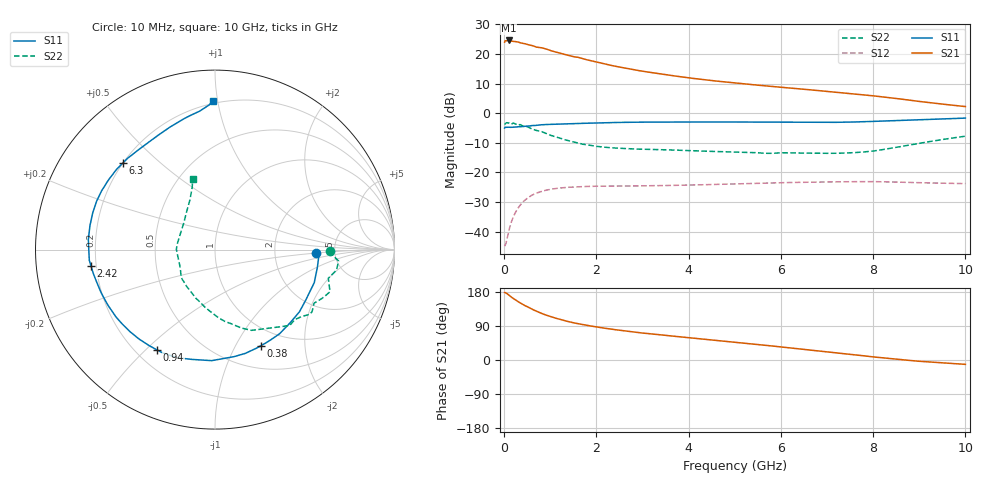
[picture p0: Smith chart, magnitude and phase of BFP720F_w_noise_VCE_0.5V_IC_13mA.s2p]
! Infineon Technologies  Discrete & RF Semiconductors
! BFP720F
! VCE =  0.5 V,  IC =  13 mA
! Common Emitter S-Parameters:  Jan 2016
# GHz  S  MA  R  50
!  f  S11  S21  S12  S22
! GHz  MAG  ANG  MAG  ANG  MAG  ANG  MAG  ANG
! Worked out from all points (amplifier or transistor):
!   233 points, 10 MHz to 10 GHz, reference 50 ohm
!   highest |S21| = 24.6 dB at 100 MHz (marker M1)
!   |S21| within 3 dB of that: start of sweep to 932.1 MHz
!   unconditionally stable (mu >= 1): start of sweep to 145.3 MHz; 4.179 GHz to end of sweep
!   at 200 MHz: K = 0.70, MSG = 29.6 dB, |S12| = -35.0 dB
!   at 1.74 GHz: K = 0.57, MSG = 21.5 dB, |S12| = -24.7 dB
!   at 10 GHz: K = 1.85, MAG = 7.7 dB, |S12| = -23.8 dB
!   lowest NFmin = 0.64 dB at 450 MHz
!   S11 on the Smith chart (normalised r, x): 10 MHz: 3.56, -0.20; 380 MHz: 0.77, -1.28; 940 MHz: 0.28, -0.54; 2.42 GHz: 0.18, -0.06; 6.3 GHz: 0.20, +0.38; 10 GHz: 0.19, +0.97
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0.01  0.5628 -2.0  15.86 178.1  0.0057 4.9  0.6419 -0.5
0.02  0.5798 -3.3  16.7 178.0  0.0059 18.7  0.6578 -2.9
0.05  0.5792 -9.0  16.7 176.4  0.0068 39.0  0.6917 -5.3
0.1  0.5829 -18.4  16.91 171.3  0.0102 52.1  0.6864 -9.6
0.2  0.5842 -36.3  16.4 162.1  0.0178 59.2  0.6824 -20.1
0.3  0.591 -52.6  15.94 154.1  0.025 55.5  0.6274 -28.4
0.38  0.5933 -64.4  15.23 148.6  0.0302 53.3  0.624 -36.0
0.45  0.6024 -73.8  14.92 143.3  0.0341 49.9  0.5914 -41.3
0.6  0.6189 -91.7  13.96 134.1  0.0413 43.8  0.5426 -53.3
0.7  0.6249 -101.7  13.07 128.6  0.0448 40.1  0.5119 -60.1
0.8  0.6381 -109.1  12.82 123.6  0.0476 36.9  0.4937 -65.7
0.94  0.6453 -119.9  11.91 117.2  0.0507 32.5  0.4463 -73.6
1.3  0.6626 -141.3  9.887 104.1  0.0556 23.9  0.3593 -91.3
1.68  0.6741 -155.6  8.441 94.1  0.0577 18.1  0.3032 -106.3
2  0.6836 -164.6  7.333 87.2  0.0586 14.6  0.276 -117.1
2.42  0.6973 -172.7  6.182 79.8  0.059 11.3  0.2582 -128.1
3.4  0.7084 170.4  4.59 66.2  0.0601 7.4  0.2429 -140.4
5.1  0.7106 151.6  3.189 45.7  0.0642 3.0  0.2198 -152.0
6.3  0.7044 136.7  2.619 30.7  0.0679 -1.5  0.2134 175.3
6.8  0.7007 129.3  2.415 24.1  0.0689 -3.8  0.2109 166.8
8.4  0.7475 103.8  1.812 3.2  0.0691 -11.9  0.2575 128.6
10  0.8271 90.7  1.295 -11.5  0.0648 -15.1  0.4098 107.5
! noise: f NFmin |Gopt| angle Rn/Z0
0.45  0.64  0.27  2  0.64
0.9  0.67  0.23  8  0.14
1.8  0.7  0.21  11  0.15
2.4  0.72  0.18  18  0.13
5.5  0.88  0.15  30  0.08
10  1.04  0.3  -88  0.19
